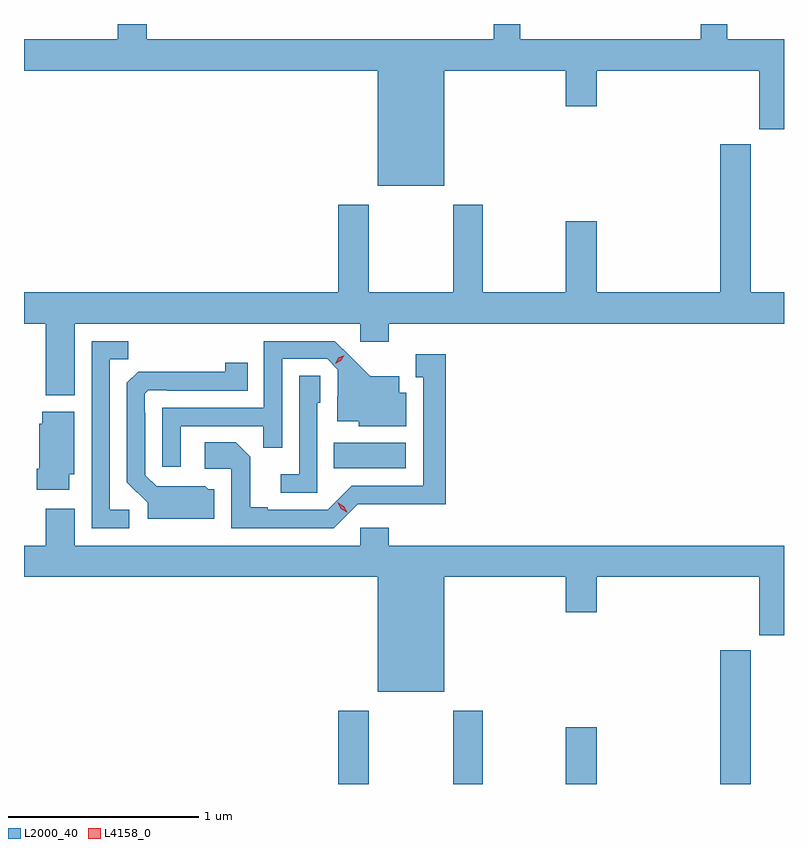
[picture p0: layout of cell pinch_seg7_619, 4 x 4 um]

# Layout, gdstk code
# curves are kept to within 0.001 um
import gdstk
lib = gdstk.Library(unit=1e-6, precision=1e-09)
def R(c, l, rs):  # rectangles x0, y0, x1, y1
    for r in rs: c.add(gdstk.rectangle(r[:2], r[2:], *l))
def P(c, l, *ps):  # polygons
    for p in ps: c.add(gdstk.Polygon(p, *l))
L2000_40 = (2000, 40)
L4158_0 = (4158, 0)

pinch_seg7_619 = lib.new_cell('pinch_seg7_619')
R(pinch_seg7_619, L2000_40, [(115.859,1015.509,116.019,1015.894), (116.464,1015.509,116.619,1015.894), (117.056,1015.509,117.22,1015.807), (117.869,1015.509,118.029,1016.212), (115.834,1017.17,116.215,1017.304)])
P(pinch_seg7_619, L2000_40, [(116.416,1019.264),(117.056,1019.264),(117.056,1019.076),(117.22,1019.076),(117.22,1019.264),(118.076,1019.264),(118.076,1018.955),(118.205,1018.955),(118.205,1019.428),(117.907,1019.428),(117.907,1019.509),(117.767,1019.509),(117.767,1019.428),(116.817,1019.428),(116.817,1019.509),(116.678,1019.509),(116.678,1019.428),(114.851,1019.428),(114.851,1019.509),(114.698,1019.509),(114.698,1019.428),(114.205,1019.428),(114.205,1019.264),(116.066,1019.264),(116.066,1018.658),(116.416,1018.658)],
  [(114.472,1017.932),(115.974,1017.932),(115.974,1017.837),(116.126,1017.837),(116.126,1017.932),(118.205,1017.932),(118.205,1018.096),(118.029,1018.096),(118.029,1018.876),(117.869,1018.876),(117.869,1018.096),(117.22,1018.096),(117.22,1018.471),(117.056,1018.471),(117.056,1018.096),(116.619,1018.096),(116.619,1018.558),(116.464,1018.558),(116.464,1018.096),(116.019,1018.096),(116.019,1018.558),(115.859,1018.558),(115.859,1018.096),(114.205,1018.096),(114.205,1017.932),(114.32,1017.932),(114.32,1017.554),(114.472,1017.554)],
  [(115.029,1017.393),(115.465,1017.393),(115.465,1017.28),(115.563,1017.28),(115.563,1017.747),(115.8,1017.747),(115.857,1017.69),(115.857,1017.548),(115.853,1017.548),(115.853,1017.419),(115.968,1017.419),(115.968,1017.392),(116.218,1017.392),(116.218,1017.568),(116.179,1017.568),(116.179,1017.655),(116.027,1017.655),(115.84,1017.84),(115.467,1017.84),(115.467,1017.489),(114.933,1017.489),(114.933,1017.18),(115.029,1017.18)],
  [(114.76,1016.952),(114.657,1016.952),(114.657,1017.745),(114.753,1017.745),(114.753,1017.84),(114.561,1017.84),(114.561,1016.856),(114.76,1016.856)],
  [(115.962,1016.982),(116.425,1016.981),(116.425,1017.772),(116.267,1017.772),(116.267,1017.651),(116.306,1017.651),(116.306,1017.078),(115.929,1017.078),(115.803,1016.952),(115.489,1016.952),(115.489,1016.965),(115.395,1016.965),(115.395,1017.232),(115.319,1017.308),(115.155,1017.308),(115.155,1017.168),(115.296,1017.168),(115.296,1016.856),(115.836,1016.856)],
  [(115.207,1017.06),(115.176,1017.06),(115.16,1017.076),(114.903,1017.075),(114.843,1017.135),(114.843,1017.464),(114.84,1017.464),(114.84,1017.564),(114.858,1017.582),(114.958,1017.582),(114.958,1017.579),(115.382,1017.579),(115.382,1017.727),(115.264,1017.727),(115.264,1017.68),(114.806,1017.679),(114.747,1017.62),(114.747,1017.098),(114.857,1016.988),(114.857,1016.906),(115.207,1016.906)],
  [(115.749,1017.516),(115.764,1017.516),(115.764,1017.659),(115.653,1017.659),(115.653,1017.139),(115.557,1017.139),(115.557,1017.042),(115.749,1017.042)],
  [(114.442,1017.138),(114.469,1017.138),(114.469,1017.469),(114.302,1017.469),(114.302,1017.405),(114.284,1017.405),(114.284,1017.169),(114.272,1017.169),(114.272,1017.057),(114.442,1017.057)],
  [(116.416,1016.6),(117.056,1016.6),(117.056,1016.412),(117.22,1016.412),(117.22,1016.6),(118.076,1016.6),(118.076,1016.291),(118.205,1016.291),(118.205,1016.764),(116.126,1016.764),(116.126,1016.857),(115.974,1016.857),(115.974,1016.764),(114.472,1016.764),(114.472,1016.959),(114.32,1016.959),(114.32,1016.764),(114.205,1016.764),(114.205,1016.6),(116.066,1016.6),(116.066,1015.994),(116.416,1015.994)])
P(pinch_seg7_619, L4158_0, [(115.904,1016.939),(115.873,1016.958),(115.856,1016.991),(115.856,1016.991),(115.856,1016.991),(115.887,1016.972),(115.905,1016.94),(115.905,1016.939)],
  [(115.842,1017.722),(115.842,1017.722),(115.859,1017.752),(115.89,1017.766),(115.89,1017.766),(115.89,1017.766),(115.873,1017.737),(115.842,1017.722)])

lib.write_gds('pinch_seg7_619.gds')
